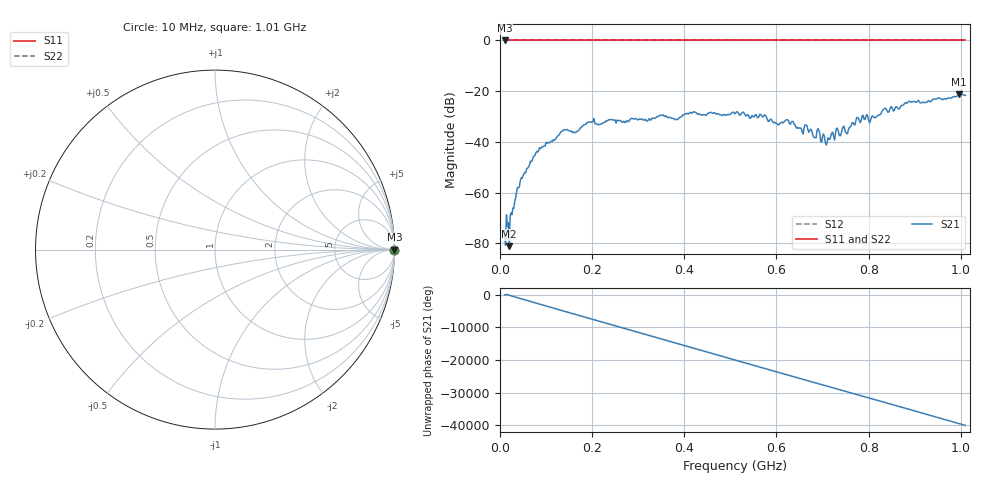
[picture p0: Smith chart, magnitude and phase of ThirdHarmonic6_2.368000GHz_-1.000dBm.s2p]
! 8/17/2025 3:41:16 AM
! C:\ANRITSUVNA\TEMP\TEMP.S2P
! CHANNEL.1
! TR.MEASUREMENT
! RAW.DATA
! RF.CORRECTION.OFF
! AVERAGING.OFF
! IF.BANDWIDTH: 5KHZ
! SWEEPTYPE:  FREQ.SWEEP(Linear)
! Reference Plane Port Info
! PORT:  PORT1  PORT2
! DISTANCE:  0  m  0  m
! TIME:  0  s  0  s
! PHASE.OFFSET:  0  deg.  0  deg.
! LOSS:  0  dB  0  dB
! REF.LOSS:  0  dB  0  dB
! REF.FREQ:  0  Hz  0  Hz
! Power Info
! POWER:  -20  dBm  -20  dBm
! EFF.POWER:  -20  dBm  -20  dBm
! SOURCE.ATTEN:  0  dB  0  dB
! TEST.ATTEN:  0  dB  0  dB
# GHZ S RI R 50.0
! FREQ.GHZ  S11RE  S11IM  S21RE  S21IM  S12RE  S12IM  S22RE  S22IM
!; PortSelection: Port_12
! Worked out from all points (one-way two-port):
!   501 points, 10 MHz to 1.01 GHz, reference 50 ohm
!   highest |S21| = -21.22 dB at 996 MHz (marker M1); lowest = -81.2 dB at 20 MHz (marker M2)
!   lowest |S11| = 0.0 dB at 10 MHz (marker M3)
!   |S11| at or under -10 dB: nowhere
!   |S22| runs from 0.0 to 0.0 dB; largest |S21 - S12| = 1.1
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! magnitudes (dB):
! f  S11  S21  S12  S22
! 10 MHz  0.0  -74.8  0.0  0.0
! 20 MHz  0.0  -81.2  0.0  0.0
! 42 MHz  0.0  -57.7  0.0  0.0
! 76 MHz  0.0  -45.3  0.0  0.0
! 136 MHz  0.0  -35.8  0.0  0.0
! 162 MHz  0.0  -36.3  0.0  0.0
! 178 MHz  0.0  -34.0  0.0  0.0
! 344 MHz  0.0  -29.9  0.0  0.0
! 382 MHz  0.0  -31.2  0.0  0.0
! 510 MHz  0.0  -28.9  0.0  0.0
! 574 MHz  0.0  -29.4  0.0  0.0
! 602 MHz  0.0  -33.0  0.0  0.0
! 622 MHz  0.0  -31.3  0.0  0.0
! 678 MHz  0.0  -36.8  0.0  0.0
! 690 MHz  0.0  -34.8  0.0  0.0
! 710 MHz  0.0  -40.2  0.0  0.0
! 732 MHz  0.0  -34.6  0.0  0.0
! 754 MHz  0.0  -36.8  0.0  0.0
! 776 MHz  0.0  -30.4  0.0  0.0
! 844 MHz  0.0  -28.2  0.0  0.0
! 996 MHz  0.0  -21.2  0.0  0.0
! 1.01 GHz  0.0  -21.7  0.0  0.0
